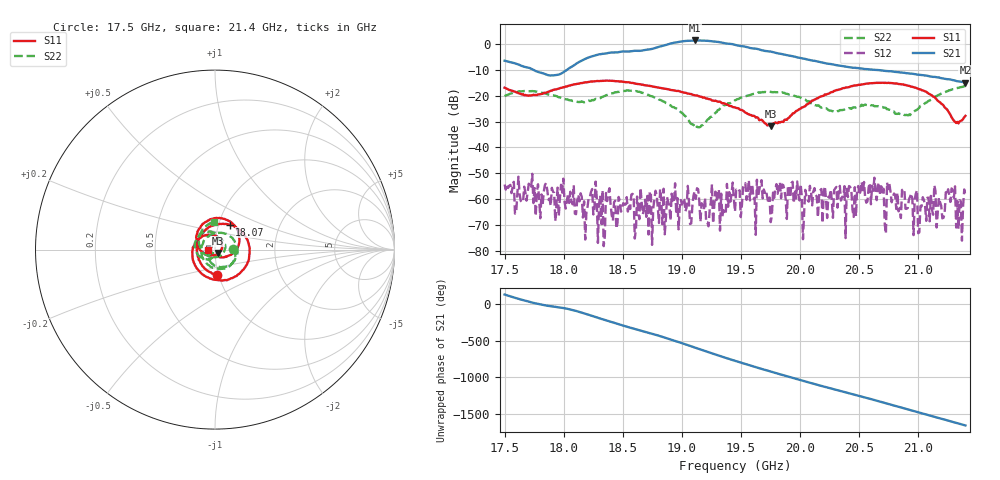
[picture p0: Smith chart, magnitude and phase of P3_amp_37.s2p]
!Created with skrf (http://scikit-rf.org).
# GHz S RI R 50.0
!freq ReS11 ImS11 ReS21 ImS21 ReS12 ImS12 ReS22 ImS22
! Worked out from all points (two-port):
!   401 points, 17.5 GHz to 21.4 GHz, reference 50 ohm
!   highest |S21| = 1.44 dB at 19.11 GHz (marker M1); lowest = -14.9 dB at 21.4 GHz (marker M2)
!   |S21| within 3 dB of the highest: 18.77 GHz to 19.59 GHz (818.5 MHz wide, 4.27 % of centre)
!   lowest |S11| = -31.7 dB at 19.75 GHz (marker M3), VSWR 1.05, Z = 51.7 - j1.97 ohm
!   |S11| at or under -10 dB: start of sweep to end of sweep
!   |S22| runs from -32.6 to -16.2 dB; largest |S21 - S12| = 1.2
!   S11 on the Smith chart (normalised r, x): 17.5 GHz: 0.98, -0.29; 18.07 GHz: 1.13, +0.32; 21.4 GHz: 0.92, -0.00
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17.5  0.00927 -0.1431  -0.2914 0.3783  -0.00185 0.00043  0.0982 0.00188
17.7145  -0.1017 -0.00736  0.307 0.1543  0.000343 0.00163  0.0908 -0.0825
18.0655  0.0818 0.1391  0.0663 -0.3556  0.00089 -0.000104  -0.073 -0.0368
18.15325  0.1413 0.1047  -0.2314 -0.4214  0.00106 -0.000256  -0.0752 0.0202
18.30925  0.1933 -0.0132  -0.6057 0.2063  0.000309 -0.00112  0.00401 0.0899
18.475  0.1254 -0.1404  0.1324 0.6965  0.000866 0.000253  0.1146 0.0352
18.64075  -0.006 -0.1673  0.7416 0.00546  0.000285 0.000289  0.0816 -0.0874
18.8065  -0.1052 -0.0976  0.2496 -0.8544  0.000126 -0.000319  -0.00873 -0.084
18.904  -0.1255 -0.0333  -0.548 -0.8694  6.75e-06 0.000379  -0.0315 -0.0574
18.99175  -0.1171 0.0211  -1.107 -0.2084  -0.000842 0.000448  -0.0348 -0.0327
19.10875  -0.0743 0.0701  -0.7002 0.9503  -0.00109 0.000878  -0.0182 -0.0183
19.22575  -0.0262 0.082  0.5299 1.028  0.000164 0.000245  -0.00863 -0.0344
19.294  -0.000134 0.0789  0.9993 0.4952  0.000896 0.000321  -0.0183 -0.0449
19.45  0.0339 0.0489  0.5627 -0.7963  0.000561 8.62e-05  -0.0641 -0.0509
19.6255  0.0377 0.00256  -0.6293 -0.5229  -0.00011 0.000169  -0.1105 0.00745
19.75225  0.0175 -0.0191  -0.6717 0.2561  0.000225 -0.000275  -0.0982 0.0663
19.90825  -0.0207 -0.0316  0.0356 0.5983  0.000221 -0.00171  -0.0362 0.0992
20.10325  -0.0803 -0.00583  0.4819 -0.0129  -0.000436 0.000609  0.0154 0.068
20.47375  -0.0642 0.1453  -0.328 -0.1104  -0.000458 4.74e-05  0.0218 0.0552
20.7565  0.0856 0.1549  0.0739 0.2906  0.00139 0.00142  0.0534 -0.00419
21.01975  0.131 0.0216  0.1867 -0.1724  0.000489 -0.00054  -0.058 -0.0262
21.4  -0.0408 -0.00151  -0.1484 0.103  -0.00111 -0.000364  -0.00774 0.1542
